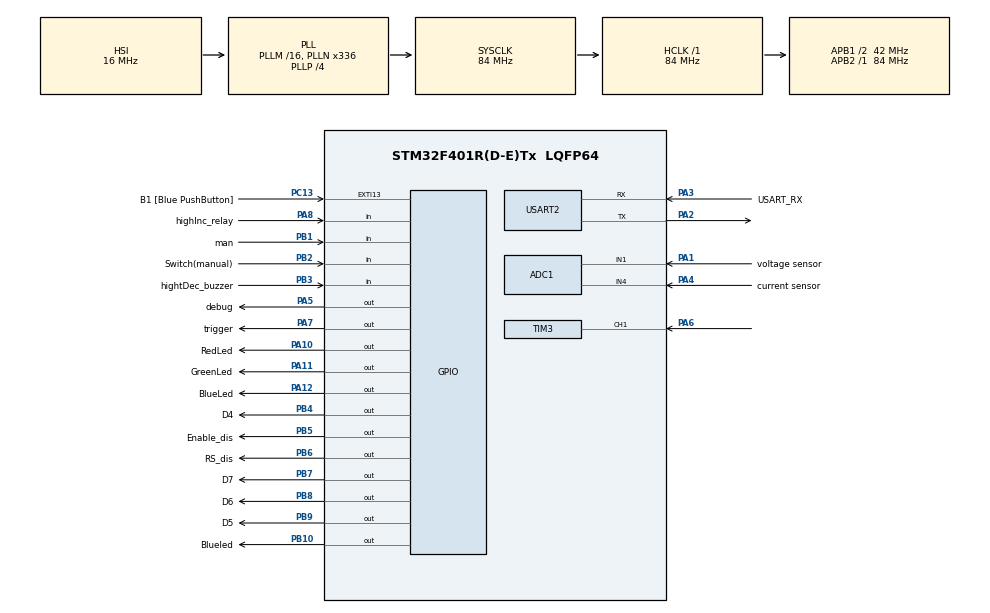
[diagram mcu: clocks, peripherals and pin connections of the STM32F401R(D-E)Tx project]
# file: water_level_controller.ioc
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ADC1.Channel-0\#ChannelRegularConversion=ADC_CHANNEL_4
ADC1.NbrOfConversionFlag=1
ADC1.Rank-0\#ChannelRegularConversion=1
ADC1.SamplingTime-0\#ChannelRegularConversion=ADC_SAMPLETIME_3CYCLES
ADC1.master=1
Mcu.Family=STM32F4
Mcu.Name=STM32F401R(D-E)Tx
Mcu.Package=LQFP64
NVIC.PriorityGroup=NVIC_PRIORITYGROUP_0
NVIC.TIM3_IRQn=true\:0\:0\:false\:false\:true\:true\:true\:true
NVIC.TIM4_IRQn=true\:0\:0\:false\:false\:true\:true\:true\:true
NVIC.USART2_IRQn=true\:0\:0\:false\:false\:true\:true\:true\:true
PA1.GPIO_Label=voltage sensor
PA1.Signal=ADCx_IN1
PA10.GPIO_Label=RedLed
PA10.Signal=GPIO_Output
PA11.GPIO_Label=GreenLed
PA11.Signal=GPIO_Output
PA12.GPIO_Label=BlueLed
PA12.Signal=GPIO_Output
PA13.GPIO_Label=TMS
PA13.Mode=Serial_Wire
PA13.Signal=SYS_JTMS-SWDIO
PA14.GPIO_Label=TCK
PA14.Mode=Serial_Wire
PA14.Signal=SYS_JTCK-SWCLK
PA2.Mode=Asynchronous
PA2.Signal=USART2_TX
PA3.GPIO_Label=USART_RX
PA3.GPIO_Mode=GPIO_MODE_AF_PP
PA3.GPIO_PuPd=GPIO_NOPULL
PA3.GPIO_Speed=GPIO_SPEED_FREQ_LOW
PA3.Mode=Asynchronous
PA3.Signal=USART2_RX
PA4.GPIO_Label=current sensor
PA4.Signal=ADCx_IN4
PA5.GPIO_Label=debug
PA5.GPIO_Mode=GPIO_MODE_OUTPUT_PP
PA5.GPIO_PuPd=GPIO_NOPULL
PA5.GPIO_Speed=GPIO_SPEED_FREQ_LOW
PA5.Signal=GPIO_Output
PA6.Signal=S_TIM3_CH1
PA7.GPIO_Label=trigger
PA7.Signal=GPIO_Output
PA8.GPIO_Label=highInc_relay
PA8.GPIO_PuPd=GPIO_PULLUP
PA8.Signal=GPIO_Input
PB1.GPIO_Label=man
PB1.GPIO_PuPd=GPIO_PULLUP
PB1.Signal=GPIO_Input
PB10.GPIO_Label=Blueled
PB10.Signal=GPIO_Output
PB2.GPIO_Label=Switch(manual)
PB2.GPIO_PuPd=GPIO_PULLUP
PB2.Signal=GPIO_Input
PB3.GPIO_Label=hightDec_buzzer
PB3.GPIO_PuPd=GPIO_PULLUP
PB3.Signal=GPIO_Input
PB4.GPIO_Label=D4
PB4.Signal=GPIO_Output
PB5.GPIO_Label=Enable_dis
PB5.Signal=GPIO_Output
PB6.GPIO_Label=RS_dis
PB6.Signal=GPIO_Output
PB7.GPIO_Label=D7
PB7.Signal=GPIO_Output
PB8.GPIO_Label=D6
PB8.Signal=GPIO_Output
PB9.GPIO_Label=D5
PB9.Signal=GPIO_Output
PC13-ANTI_TAMP.GPIO_Label=B1 [Blue PushButton]
PC13-ANTI_TAMP.GPIO_ModeDefaultEXTI=GPIO_MODE_IT_FALLING
PC13-ANTI_TAMP.GPIO_PuPd=GPIO_NOPULL
PC13-ANTI_TAMP.Signal=GPXTI13
PC14-OSC32_IN.Mode=LSE-External-Oscillator
PC14-OSC32_IN.Signal=RCC_OSC32_IN
PC15-OSC32_OUT.Mode=LSE-External-Oscillator
PC15-OSC32_OUT.Signal=RCC_OSC32_OUT
PH0\ -\ OSC_IN.Mode=HSE-External-Clock-Source
PH0\ -\ OSC_IN.Signal=RCC_OSC_IN
PH1\ -\ OSC_OUT.Mode=HSE-External-Clock-Source
PH1\ -\ OSC_OUT.Signal=RCC_OSC_OUT
ProjectManager.HeapSize=0x200
ProjectManager.StackSize=0x400
ProjectManager.TargetToolchain=STM32CubeIDE
RCC.48MHZClocksFreq_Value=48000000
RCC.AHBFreq_Value=84000000
RCC.APB1CLKDivider=RCC_HCLK_DIV2
RCC.APB1Freq_Value=42000000
RCC.APB1TimFreq_Value=84000000
RCC.APB2Freq_Value=84000000
RCC.APB2TimFreq_Value=84000000
RCC.CortexFreq_Value=84000000
RCC.HCLKFreq_Value=84000000
RCC.HSE_VALUE=8000000
RCC.HSI_VALUE=16000000
RCC.PLLN=336
RCC.PLLP=RCC_PLLP_DIV4
RCC.PLLQ=7
RCC.SYSCLKFreq_VALUE=84000000
RCC.SYSCLKSource=RCC_SYSCLKSOURCE_PLLCLK
RCC.VCOOutputFreq_Value=336000000
SH.ADCx_IN1.0=ADC1_IN1,IN1
SH.ADCx_IN4.0=ADC1_IN4,IN4
SH.S_TIM3_CH1.0=TIM3_CH1,Input_Capture1_from_TI1
TIM3.AutoReloadPreload=TIM_AUTORELOAD_PRELOAD_ENABLE
TIM3.Channel-Input_Capture1_from_TI1=TIM_CHANNEL_1
TIM3.ICFilter_CH1=4
TIM3.ICPolarity_CH1=TIM_INPUTCHANNELPOLARITY_BOTHEDGE
TIM3.Prescaler=84-1
TIM4.AutoReloadPreload=TIM_AUTORELOAD_PRELOAD_ENABLE
TIM4.Period=2000
TIM4.Prescaler=8400-1
USART2.VirtualMode=VM_ASYNC
VP_TIM2_VS_ClockSourceINT.Mode=Internal
VP_TIM3_VS_ClockSourceINT.Mode=Internal
VP_TIM4_VS_ClockSourceINT.Mode=Internal
board=NUCLEO-F401RE

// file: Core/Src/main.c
/* USER CODE BEGIN Header */
/**
 ******************************************************************************
 * @file           : main.c
 * @brief          : Main program body
 ******************************************************************************
 * @attention
 *
 * Copyright (c) 2023 STMicroelectronics.
 * All rights reserved.
 *
 * This software is licensed under terms that can be found in the LICENSE file
 * in the root directory of this software component.
 * If no LICENSE file comes with this software, it is provided AS-IS.
 *
 ******************************************************************************
 */
/* USER CODE END Header */
#include "main.h"

/* USER CODE BEGIN Includes */
#include "lcd.h"
#include "ultrasonic.h"
#include "userinterface.h"
#include "voltage_sensor.h"

/* USER CODE END Includes */

/* USER CODE BEGIN PTD */
#define IC_max_cnt_val 0xffff // max value of input capture register
#define tickPeriod 0.000001 // 1microseconds
/* USER CODE END PTD */

ADC_HandleTypeDef hadc1;

TIM_HandleTypeDef htim2;
TIM_HandleTypeDef htim3;
TIM_HandleTypeDef htim4;

UART_HandleTypeDef huart2;

/* USER CODE BEGIN PV */

Flags SystemFlags = { 0 };
Parameter SystemParameter = { 0 };
char str[20] = ""; // *************temp*********//
/* USER CODE END PV */

void SystemClock_Config(void);
static void MX_GPIO_Init(void);
static void MX_ADC1_Init(void);
static void MX_USART2_UART_Init(void);
static void MX_TIM2_Init(void);
static void MX_TIM4_Init(void);
static void MX_TIM3_Init(void);
/* USER CODE BEGIN PFP */
void testforMode();
void MeasureDistance(GPIO_TypeDef *GPIOx, uint16_t GPIO_Pin);
/* USER CODE END PFP */

/* USER CODE BEGIN 0 */

uint8_t tankHeight = 180;

/* USER CODE END 0 */

int main(void) {

	/* MCU Configuration--------------------------------------------------------*/

	/* Reset of all peripherals, Initializes the Flash interface and the Systick. */
	HAL_Init();

	/* Configure the system clock */
	SystemClock_Config();

	/* Initialize all configured peripherals */
	MX_GPIO_Init();
	MX_ADC1_Init();
	MX_USART2_UART_Init();
	MX_TIM2_Init();
	MX_TIM4_Init();
	MX_TIM3_Init();
	/* USER CODE BEGIN 2 */

	Lcd_HandleTypeDef LCD_instance = LcdInitialize();

	const uint8_t C__MinimumLevel = 80;
	const uint8_t C__MaximumLevel = 20;
	uint8_t thresholdLevel = 0, cutOffLevel = 0, levelInpercent = 0;

	//***************** TIMER & INTERRUPT defines***********************//
	HAL_TIM_Base_Start(&htim3);
	HAL_TIM_Base_Start_IT(&htim4);
	HAL_TIM_IC_Start_IT(&htim3, TIM_CHANNEL_1);
	SystemFlags.Over_Voltage_Flag=0;
	SystemFlags.DryRun_Flag=0;

	/* USER CODE END 2 */

	/* Infinite loop */
	while (1) {

		/* USER CODE BEGIN 3 */

//###Check over voltage
//###Read current sensor
//###Check dry run
		//check device in auto mode or manual mode if flag is "0" auto mode else manual mode
		ReadModeSwitch();
		if (SystemFlags.Mode_Flag == 0) {  // 1 for manual
			//              "Device in manual mode"
			LcdClear(&LCD_instance);
			UIStatus(LCD_instance, Blueled_GPIO_Port, Blueled_Pin, 0, 3,
					"MANUAL MODE", 1);

			if (SystemFlags.Over_Voltage_Flag) {
				UIStatus(LCD_instance, RedLed_GPIO_Port, RedLed_Pin, 1, 0,
						"Warning!! V_high", 1);
				//			HAL_GPIO_WritePin(buzzer_GPIO_Port, buzzer_Pin, GPIO_PIN_RESET);

			} else if (SystemFlags.DryRun_Flag) {
				UIStatus(LCD_instance, RedLed_GPIO_Port, RedLed_Pin, 1, 0,
						"Warning!! D_run", 1);
				//			HAL_GPIO_WritePin(buzzer_GPIO_Port, buzzer_Pin, GPIO_PIN_RESET);
			} else {
				//			HAL_GPIO_WritePin(RelayEnable_GPIO_Port, RelayEnable_Pin,
				//					GPIO_PIN_SET);
				//			HAL_GPIO_WritePin(buzzer_GPIO_Port, buzzer_Pin, GPIO_PIN_RESET);
				HAL_GPIO_WritePin(RedLed_GPIO_Port, RedLed_Pin, GPIO_PIN_RESET);
			}
		}

		//*************************"Device in auto mode"************************//
		else {
			HAL_GPIO_WritePin(Blueled_GPIO_Port, Blueled_Pin, GPIO_PIN_RESET);
			//###measure the water level
			MeasureDistance(trigger_GPIO_Port, trigger_Pin);
			//Print to UART terminal for debugging
			sprintf(str, "Distance = %d cm\n", SystemParameter.Level);
			HAL_UART_Transmit(&huart2, (uint8_t*) str, strlen(str), 100);

			//###Display the water level and tank height
			LcdClear(&LCD_instance);
			UIStatus(LCD_instance, Blueled_GPIO_Port, Blueled_Pin, 0, 0,
					"Level", 0);
			levelInpercent = ((1 - ((float) SystemParameter.Level / tankHeight))
					* 100);
			DisplayLevel(&LCD_instance, levelInpercent);
			UIMessage(LCD_instance, 0, 11, "H=", tankHeight);
			thresholdLevel = ceil((tankHeight * C__MinimumLevel) / 100);
			cutOffLevel = floor((tankHeight * C__MaximumLevel) / 100);

			//******************Motor On*******************//

			if (SystemParameter.Level >= thresholdLevel) {
				if ((SystemFlags.Over_Voltage_Flag || SystemFlags.DryRun_Flag)
						== 0) {
					//					HAL_GPIO_WritePin(RelayEnable_GPIO_Port, RelayEnable_Pin,
					//							GPIO_PIN_SET);
					UIStatus(LCD_instance, GreenLed_GPIO_Port, GreenLed_Pin, 1,
							0, "Motor ON", 1);
					HAL_GPIO_WritePin(RedLed_GPIO_Port, RedLed_Pin,
							GPIO_PIN_RESET);

				} else {
					//					HAL_GPIO_WritePin(RelayEnable_GPIO_Port, RelayEnable_Pin,
					//							GPIO_PIN_RESET);
					UIStatus(LCD_instance, GreenLed_GPIO_Port, GreenLed_Pin, 1,
							0, "Motor OFF", 0);
					HAL_GPIO_WritePin(RedLed_GPIO_Port, RedLed_Pin,
							GPIO_PIN_SET);
				}
				if (SystemFlags.Over_Voltage_Flag) {
					//					HAL_GPIO_WritePin(buzzer_GPIO_Port, buzzer_Pin,
					//							GPIO_PIN_SET);
					UIStatus(LCD_instance, RedLed_GPIO_Port, RedLed_Pin, 1, 10,
							"V_High", 1);
				} else if (SystemFlags.DryRun_Flag) {
					//					HAL_GPIO_WritePin(buzzer_GPIO_Port, buzzer_Pin,
					//							GPIO_PIN_SET);
					UIStatus(LCD_instance, RedLed_GPIO_Port, RedLed_Pin, 1, 10,
							"D_run", 1);

				}

			}
			//************************Motor Off when tank is full******************//

			else if (SystemParameter.Level < cutOffLevel) {
				//					HAL_GPIO_WritePin(RelayEnable_GPIO_Port, RelayEnable_Pin,
				//							GPIO_PIN_RESET);
				UIStatus(LCD_instance, GreenLed_GPIO_Port, GreenLed_Pin, 1, 0,
						"Motor OFF", 0);

			}

		}
		HAL_GPIO_WritePin(debug_GPIO_Port, debug_Pin, GPIO_PIN_SET);
		HAL_Delay(3000);

	}
	/* USER CODE END 3 */
}

void SystemClock_Config(void) {
	RCC_OscInitTypeDef RCC_OscInitStruct = { 0 };
	RCC_ClkInitTypeDef RCC_ClkInitStruct = { 0 };

	/** Configure the main internal regulator output voltage
	 */
	__HAL_RCC_PWR_CLK_ENABLE();
	__HAL_PWR_VOLTAGESCALING_CONFIG(PWR_REGULATOR_VOLTAGE_SCALE2);

	/** Initializes the RCC Oscillators according to the specified parameters
	 * in the RCC_OscInitTypeDef structure.
	 */
	RCC_OscInitStruct.OscillatorType = RCC_OSCILLATORTYPE_HSI;
	RCC_OscInitStruct.HSIState = RCC_HSI_ON;
	RCC_OscInitStruct.HSICalibrationValue = RCC_HSICALIBRATION_DEFAULT;
	RCC_OscInitStruct.PLL.PLLState = RCC_PLL_ON;
	RCC_OscInitStruct.PLL.PLLSource = RCC_PLLSOURCE_HSI;
	RCC_OscInitStruct.PLL.PLLM = 16;
	RCC_OscInitStruct.PLL.PLLN = 336;
	RCC_OscInitStruct.PLL.PLLP = RCC_PLLP_DIV4;
	RCC_OscInitStruct.PLL.PLLQ = 7;
	if (HAL_RCC_OscConfig(&RCC_OscInitStruct) != HAL_OK) {
		Error_Handler();
	}

	/** Initializes the CPU, AHB and APB buses clocks
	 */
	RCC_ClkInitStruct.ClockType = RCC_CLOCKTYPE_HCLK | RCC_CLOCKTYPE_SYSCLK
			| RCC_CLOCKTYPE_PCLK1 | RCC_CLOCKTYPE_PCLK2;
	RCC_ClkInitStruct.SYSCLKSource = RCC_SYSCLKSOURCE_PLLCLK;
	RCC_ClkInitStruct.AHBCLKDivider = RCC_SYSCLK_DIV1;
	RCC_ClkInitStruct.APB1CLKDivider = RCC_HCLK_DIV2;
	RCC_ClkInitStruct.APB2CLKDivider = RCC_HCLK_DIV1;

	if (HAL_RCC_ClockConfig(&RCC_ClkInitStruct, FLASH_LATENCY_2) != HAL_OK) {
		Error_Handler();
	}
}

static void MX_ADC1_Init(void) {

	ADC_ChannelConfTypeDef sConfig = { 0 };

	/** Configure the global features of the ADC (Clock, Resolution, Data Alignment and number of conversion)
	 */
	hadc1.Instance = ADC1;
	hadc1.Init.ClockPrescaler = ADC_CLOCK_SYNC_PCLK_DIV4;
	hadc1.Init.Resolution = ADC_RESOLUTION_12B;
	hadc1.Init.ScanConvMode = DISABLE;
	hadc1.Init.ContinuousConvMode = DISABLE;
	hadc1.Init.DiscontinuousConvMode = DISABLE;
	hadc1.Init.ExternalTrigConvEdge = ADC_EXTERNALTRIGCONVEDGE_NONE;
	hadc1.Init.ExternalTrigConv = ADC_SOFTWARE_START;
	hadc1.Init.DataAlign = ADC_DATAALIGN_RIGHT;
	hadc1.Init.NbrOfConversion = 1;
	hadc1.Init.DMAContinuousRequests = DISABLE;
	hadc1.Init.EOCSelection = ADC_EOC_SINGLE_CONV;
	if (HAL_ADC_Init(&hadc1) != HAL_OK) {
		Error_Handler();
	}

	/** Configure for the selected ADC regular channel its corresponding rank in the sequencer and its sample time.
	 */
	sConfig.Channel = ADC_CHANNEL_4;
	sConfig.Rank = 1;
	sConfig.SamplingTime = ADC_SAMPLETIME_3CYCLES;
	if (HAL_ADC_ConfigChannel(&hadc1, &sConfig) != HAL_OK) {
		Error_Handler();
	}
	/* USER CODE BEGIN ADC1_Init 2 */

	/* * @brief ADC1 Initialization Function
	 * @param None
	 * @retval None
	 */

	/* USER CODE END ADC1_Init 2 */

}

static void MX_TIM2_Init(void) {

	TIM_ClockConfigTypeDef sClockSourceConfig = { 0 };
	TIM_MasterConfigTypeDef sMasterConfig = { 0 };

	htim2.Instance = TIM2;
	htim2.Init.Prescaler = 0;
	htim2.Init.CounterMode = TIM_COUNTERMODE_UP;
	htim2.Init.Period = 4294967295;
	htim2.Init.ClockDivision = TIM_CLOCKDIVISION_DIV1;
	htim2.Init.AutoReloadPreload = TIM_AUTORELOAD_PRELOAD_DISABLE;
	if (HAL_TIM_Base_Init(&htim2) != HAL_OK) {
		Error_Handler();
	}
	sClockSourceConfig.ClockSource = TIM_CLOCKSOURCE_INTERNAL;
	if (HAL_TIM_ConfigClockSource(&htim2, &sClockSourceConfig) != HAL_OK) {
		Error_Handler();
	}
	sMasterConfig.MasterOutputTrigger = TIM_TRGO_RESET;
	sMasterConfig.MasterSlaveMode = TIM_MASTERSLAVEMODE_DISABLE;
	if (HAL_TIMEx_MasterConfigSynchronization(&htim2, &sMasterConfig)
			!= HAL_OK) {
		Error_Handler();
	}

}

static void MX_TIM3_Init(void) {

	TIM_ClockConfigTypeDef sClockSourceConfig = { 0 };
	TIM_MasterConfigTypeDef sMasterConfig = { 0 };
	TIM_IC_InitTypeDef sConfigIC = { 0 };

	htim3.Instance = TIM3;
	htim3.Init.Prescaler = 84 - 1;
	htim3.Init.CounterMode = TIM_COUNTERMODE_UP;
	htim3.Init.Period = 65535;
	htim3.Init.ClockDivision = TIM_CLOCKDIVISION_DIV1;
	htim3.Init.AutoReloadPreload = TIM_AUTORELOAD_PRELOAD_ENABLE;
	if (HAL_TIM_Base_Init(&htim3) != HAL_OK) {
		Error_Handler();
	}
	sClockSourceConfig.ClockSource = TIM_CLOCKSOURCE_INTERNAL;
	if (HAL_TIM_ConfigClockSource(&htim3, &sClockSourceConfig) != HAL_OK) {
		Error_Handler();
	}
	if (HAL_TIM_IC_Init(&htim3) != HAL_OK) {
		Error_Handler();
	}
	sMasterConfig.MasterOutputTrigger = TIM_TRGO_RESET;
	sMasterConfig.MasterSlaveMode = TIM_MASTERSLAVEMODE_DISABLE;
	if (HAL_TIMEx_MasterConfigSynchronization(&htim3, &sMasterConfig)
			!= HAL_OK) {
		Error_Handler();
	}
	sConfigIC.ICPolarity = TIM_INPUTCHANNELPOLARITY_BOTHEDGE;
	sConfigIC.ICSelection = TIM_ICSELECTION_DIRECTTI;
	sConfigIC.ICPrescaler = TIM_ICPSC_DIV1;
	sConfigIC.ICFilter = 4;
	if (HAL_TIM_IC_ConfigChannel(&htim3, &sConfigIC, TIM_CHANNEL_1) != HAL_OK) {
		Error_Handler();
	}

}

static void MX_TIM4_Init(void) {

	TIM_ClockConfigTypeDef sClockSourceConfig = { 0 };
	TIM_MasterConfigTypeDef sMasterConfig = { 0 };

	htim4.Instance = TIM4;
	htim4.Init.Prescaler = 8400 - 1;
	htim4.Init.CounterMode = TIM_COUNTERMODE_UP;
	htim4.Init.Period = 2000;
	htim4.Init.ClockDivision = TIM_CLOCKDIVISION_DIV1;
	htim4.Init.AutoReloadPreload = TIM_AUTORELOAD_PRELOAD_ENABLE;
	if (HAL_TIM_Base_Init(&htim4) != HAL_OK) {
		Error_Handler();
	}
	sClockSourceConfig.ClockSource = TIM_CLOCKSOURCE_INTERNAL;
	if (HAL_TIM_ConfigClockSource(&htim4, &sClockSourceConfig) != HAL_OK) {
		Error_Handler();
	}
	sMasterConfig.MasterOutputTrigger = TIM_TRGO_RESET;
	sMasterConfig.MasterSlaveMode = TIM_MASTERSLAVEMODE_DISABLE;
	if (HAL_TIMEx_MasterConfigSynchronization(&htim4, &sMasterConfig)
			!= HAL_OK) {
		Error_Handler();
	}

}

static void MX_USART2_UART_Init(void) {

	huart2.Instance = USART2;
	huart2.Init.BaudRate = 115200;
	huart2.Init.WordLength = UART_WORDLENGTH_8B;
	huart2.Init.StopBits = UART_STOPBITS_1;
	huart2.Init.Parity = UART_PARITY_NONE;
	huart2.Init.Mode = UART_MODE_TX_RX;
	huart2.Init.HwFlowCtl = UART_HWCONTROL_NONE;
	huart2.Init.OverSampling = UART_OVERSAMPLING_16;
	if (HAL_UART_Init(&huart2) != HAL_OK) {
		Error_Handler();
	}

}

static void MX_GPIO_Init(void) {
	GPIO_InitTypeDef GPIO_InitStruct = { 0 };

	/* GPIO Ports Clock Enable */
	__HAL_RCC_GPIOC_CLK_ENABLE();
	__HAL_RCC_GPIOH_CLK_ENABLE();
	__HAL_RCC_GPIOA_CLK_ENABLE();
	__HAL_RCC_GPIOB_CLK_ENABLE();

	/*Configure GPIO pin Output Level */
	HAL_GPIO_WritePin(GPIOA,
	debug_Pin | trigger_Pin | RedLed_Pin | GreenLed_Pin | BlueLed_Pin,
			GPIO_PIN_RESET);

	/*Configure GPIO pin Output Level */
	HAL_GPIO_WritePin(GPIOB,
			Blueled_Pin | D4_Pin | Enable_dis_Pin | RS_dis_Pin | D7_Pin | D6_Pin
					| D5_Pin, GPIO_PIN_RESET);

	/*Configure GPIO pin : B1_Pin */
	GPIO_InitStruct.Pin = B1_Pin;
	GPIO_InitStruct.Mode = GPIO_MODE_IT_FALLING;
	GPIO_InitStruct.Pull = GPIO_NOPULL;
	HAL_GPIO_Init(B1_GPIO_Port, &GPIO_InitStruct);

	/*Configure GPIO pins : debug_Pin trigger_Pin RedLed_Pin GreenLed_Pin
	 BlueLed_Pin */
	GPIO_InitStruct.Pin = debug_Pin | trigger_Pin | RedLed_Pin | GreenLed_Pin
			| BlueLed_Pin;
	GPIO_InitStruct.Mode = GPIO_MODE_OUTPUT_PP;
	GPIO_InitStruct.Pull = GPIO_NOPULL;
	GPIO_InitStruct.Speed = GPIO_SPEED_FREQ_LOW;
	HAL_GPIO_Init(GPIOA, &GPIO_InitStruct);

	/*Configure GPIO pins : man_Pin Switch_Pin hightDec_buzzer_Pin */
	GPIO_InitStruct.Pin = man_Pin | Switch_Pin | hightDec_buzzer_Pin;
	GPIO_InitStruct.Mode = GPIO_MODE_INPUT;
	GPIO_InitStruct.Pull = GPIO_PULLUP;
	HAL_GPIO_Init(GPIOB, &GPIO_InitStruct);

	/*Configure GPIO pins : Blueled_Pin D4_Pin Enable_dis_Pin RS_dis_Pin
	 D7_Pin D6_Pin D5_Pin */
	GPIO_InitStruct.Pin = Blueled_Pin | D4_Pin | Enable_dis_Pin | RS_dis_Pin
			| D7_Pin | D6_Pin | D5_Pin;
	GPIO_InitStruct.Mode = GPIO_MODE_OUTPUT_PP;
	GPIO_InitStruct.Pull = GPIO_NOPULL;
	GPIO_InitStruct.Speed = GPIO_SPEED_FREQ_LOW;
	HAL_GPIO_Init(GPIOB, &GPIO_InitStruct);

	/*Configure GPIO pin : highInc_relay_Pin */
	GPIO_InitStruct.Pin = highInc_relay_Pin;
	GPIO_InitStruct.Mode = GPIO_MODE_INPUT;
	GPIO_InitStruct.Pull = GPIO_PULLUP;
	HAL_GPIO_Init(highInc_relay_GPIO_Port, &GPIO_InitStruct);

}

/* USER CODE BEGIN 4 */
void HAL_TIM_PeriodElapsedCallback(TIM_HandleTypeDef *htim) {
	if (HAL_GPIO_ReadPin(highInc_relay_GPIO_Port, highInc_relay_Pin) == 0) {
		tankHeight++;
	}
	if (HAL_GPIO_ReadPin(hightDec_buzzer_GPIO_Port, hightDec_buzzer_Pin) == 0) {
		tankHeight--;
	}
}

void HAL_TIM_IC_CaptureCallback(TIM_HandleTypeDef *htim) {
	static _Bool capture_index = 0;
	if (capture_index == 0) //Fisrt edge
			{
		g_first_capture = HAL_TIM_ReadCapturedValue(htim, TIM_CHANNEL_1); //__HAL_TIM_GetCounter(&htim3);//

		capture_index = 1;
	} else if (capture_index == 1) //Second edge
			{
		g_second_capture = HAL_TIM_ReadCapturedValue(htim, TIM_CHANNEL_1);
		capture_index = 0;
		SystemFlags.Capture_Complete_Flag = 1;
	}

}

/* USER CODE END 4 */

void Error_Handler(void) {
	__disable_irq();
	while (1) {
	}
}
